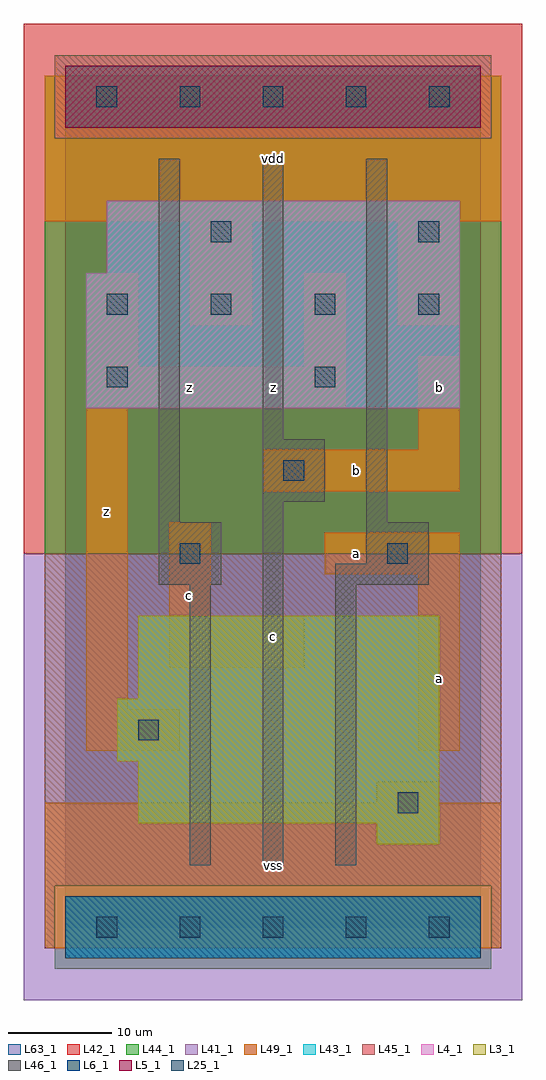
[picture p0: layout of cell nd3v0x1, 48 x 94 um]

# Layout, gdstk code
import gdstk
lib = gdstk.Library(unit=1e-6, precision=1e-09)
def R(c, l, rs):  # rectangles x0, y0, x1, y1
    for r in rs: c.add(gdstk.rectangle(r[:2], r[2:], *l))
def A(c, l, x, y, w, h, nx, ny, dx, dy):  # array of equal rectangles
    R(c, l, [(x+i*dx, y+j*dy, x+i*dx+w, y+j*dy+h) for i in range(nx) for j in range(ny)])
L3_1 = (3, 1)
L4_1 = (4, 1)
L5_1 = (5, 1)
L6_1 = (6, 1)
L25_1 = (25, 1)
L41_1 = (41, 1)
L42_1 = (42, 1)
L43_1 = (43, 1)
L44_1 = (44, 1)
L45_1 = (45, 1)
L46_1 = (46, 1)
L49_1 = (49, 1)
L63_1 = (63, 1)

nd3v0x1 = lib.new_cell('nd3v0x1')
R(nd3v0x1, L3_1, [(30,8,36,10), (7,10,36,16), (5,16,36,22), (7,22,36,30)])
R(nd3v0x1, L4_1, [(2,50,38,63), (4,63,38,70)])
R(nd3v0x1, L5_1, [(0,77,40,83)])
R(nd3v0x1, L6_1, [(0,-3,40,3), (0,-3,40,3)])
A(nd3v0x1, L25_1, 3, -1, 2, 2, 5, 2, 8, 80)
A(nd3v0x1, L25_1, 4, 59, 2, 2, 4, 1, 10, 0)
R(nd3v0x1, L25_1, [(32,11,34,13), (7,18,9,20), (11,35,13,37), (31,35,33,37), (21,43,23,45), (4,52,6,54), (24,52,26,54), (14,66,16,68), (34,66,36,68)])
R(nd3v0x1, L41_1, [(-4,-7,44,36)])
R(nd3v0x1, L42_1, [(-4,36,44,87)])
R(nd3v0x1, L43_1, [(0,-3,40,3), (30,8,36,10), (7,10,36,16), (5,16,36,22), (7,22,36,30), (2,50,38,63), (4,63,38,70), (0,77,40,83)])
R(nd3v0x1, L44_1, [(-1,-4,41,4), (-2,36,42,76), (-2,76,-1,82), (41,76,42,82)])
R(nd3v0x1, L45_1, [(-2,-2,-1,4), (41,-2,42,4), (-2,4,42,36), (-1,76,41,84)])
R(nd3v0x1, L46_1, [(12,6,14,33), (19,6,21,41), (26,6,28,33), (9,33,15,39), (26,33,35,35), (29,35,35,39), (9,39,11,74), (29,39,31,74), (19,41,25,47), (19,47,21,74)])
R(nd3v0x1, L49_1, [(-2,-2,42,12), (30,12,36,14), (2,17,11,21), (34,17,38,34), (2,21,6,50), (10,25,23,30), (10,30,14,39), (25,34,38,38), (19,42,38,46), (34,46,38,55), (2,50,27,54), (2,54,7,63), (23,54,27,63), (12,58,18,68), (32,58,38,68), (-2,68,42,82)])
R(nd3v0x1, L63_1, [(0,0,40,80)])
nd3v0x1.add(gdstk.Label('z', (4,40), layer=49, texttype=1))
nd3v0x1.add(gdstk.Label('c', (12,32), layer=49, texttype=1))
nd3v0x1.add(gdstk.Label('z', (12,52), layer=49, texttype=1))
nd3v0x1.add(gdstk.Label('vss', (20,6), layer=49, texttype=1))
nd3v0x1.add(gdstk.Label('c', (20,28), layer=49, texttype=1))
nd3v0x1.add(gdstk.Label('a', (28,36), layer=49, texttype=1))
nd3v0x1.add(gdstk.Label('b', (28,44), layer=49, texttype=1))
nd3v0x1.add(gdstk.Label('z', (20,52), layer=49, texttype=1))
nd3v0x1.add(gdstk.Label('vdd', (20,74), layer=49, texttype=1))
nd3v0x1.add(gdstk.Label('a', (36,24), layer=49, texttype=1))
nd3v0x1.add(gdstk.Label('b', (36,52), layer=49, texttype=1))

lib.write_gds('nd3v0x1.gds')
